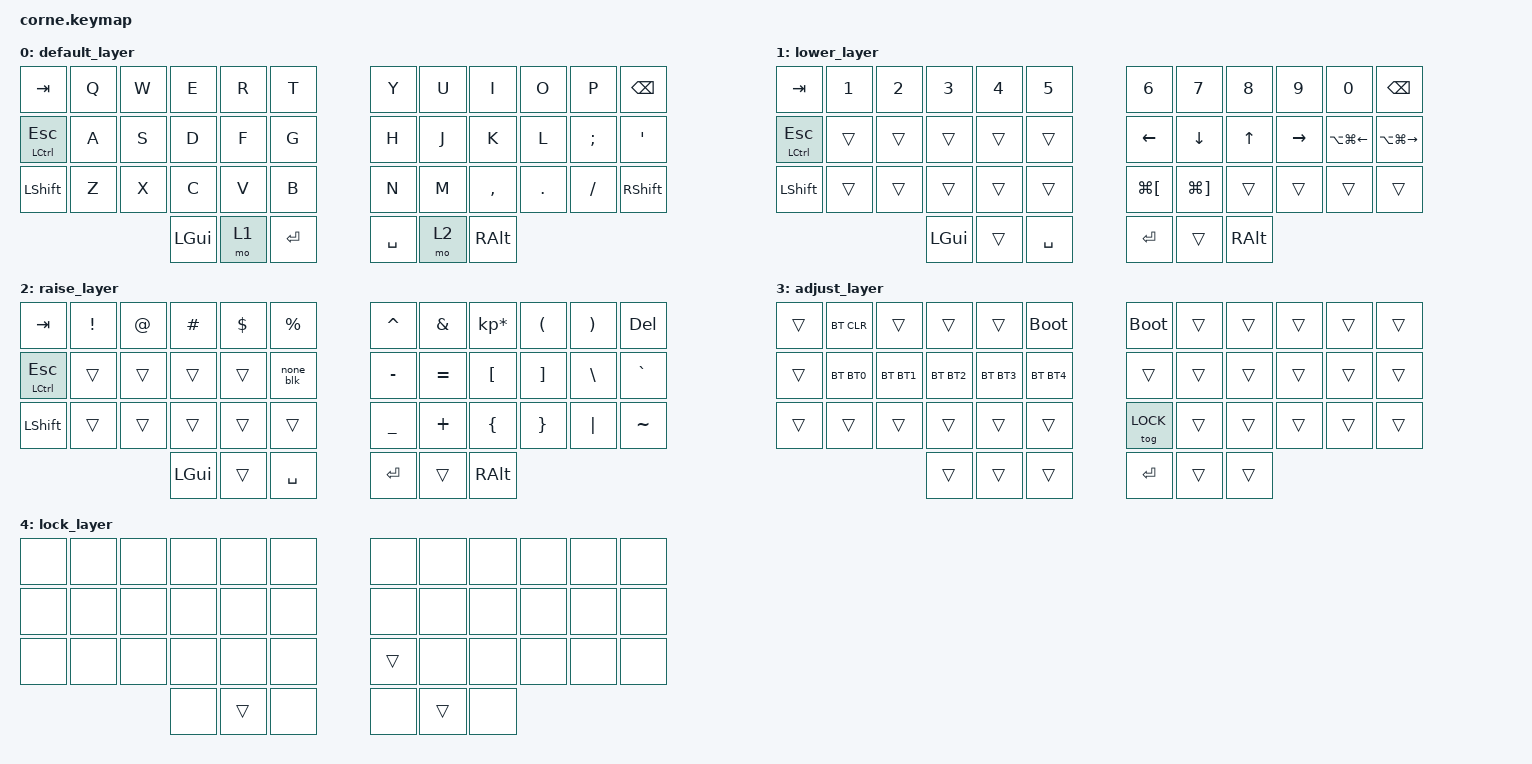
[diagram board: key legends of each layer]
/*
 * Copyright (c) 2020 The ZMK Contributors
 *
 * SPDX-License-Identifier: MIT
 */

#include <behaviors.dtsi>
#include <dt-bindings/zmk/keys.h>
#include <dt-bindings/zmk/bt.h>

#define LOWER 1
#define RAISE 2
#define ADJUST 3
#define LOCK 4
#define BACK C_AC_BACK
#define FWD C_AC_FORWARD
#define PAUSE PAUSE_BREAK
#define VOL_DN C_VOL_DN
#define VOL_UP C_VOL_UP
#define LC_SPC LC(SPACE)
#define ZM_IN LC(EQUAL)
#define ZM_OUT LC(MINUS)
#define ZM_RST LC(N0)
#define BT0 BT_SEL 0
#define BT1 BT_SEL 1
#define BT2 BT_SEL 2
#define BT3 BT_SEL 3
#define BT4 BT_SEL 4
#define HYP LS(LC(LA(LGUI)))

#define HYPER(key) LS(LC(LA(LG(key))))

&mt {
    retro-tap;
};

/ {
    conditional_layers {
        compatible = "zmk,conditional-layers";

        tri_layer {
            if-layers = <LOWER RAISE>;
            then-layer = <ADJUST>;
        };
    };

    behaviors {
        hm: homerow_mods {
            compatible = "zmk,behavior-hold-tap";
            label = "HOMEROW_MODS";
            #binding-cells = <2>;
            tapping-term-ms = <150>;
            quick_tap_ms = <0>;
            flavor = "tap-preferred";
            bindings =
                <&kp>,
                <&kp>;
        };
    };

    combos {
        compatible = "zmk,combos";

        combo_caps {
            timeout-ms = <1000>;
            key-positions = <24 35>;
            bindings = <&caps_word>;
        };
    };

    macros {
        none_blk: none_blk {
            label = "NON_BLOCKING";
            compatible = "zmk,behavior-macro";
            #binding-cells = <0>;
            bindings =
                <&macro_tap>,
                <&kp LS(COMMA) &kp EQUAL>;
        };
    };

    keymap {
        compatible = "zmk,keymap";

        // key positions
        // --------------------------------------------------------------------------------
        //  |  0  |  1  |  2  |  3  |  4  |  5  |     |  6  |  7  |  8  |  9  |  10 |  11 |
        //  |  12 |  13 |  14 |  15 |  16 |  17 |     |  18 |  19 |  20 |  21 |  22 |  23 |
        //  |  24 |  25 |  26 |  27 |  28 |  29 |     |  30 |  31 |  32 |  33 |  34 |  35 |
        //                    |  36 |  37 |  38 |     |  39 |  40 |  41 |

        default_layer {
            // -----------------------------------------------------------------------------------------
            //  |  TAB       |  Q  |  W  |  E  |  R  |  T  |   |  Y  |  U   |  I  |  O  |  /  | BKSP |
            //  | CTRL / ESC |  A  |  S  |  D  |  F  |  G  |   |  H  |  J   |  K  |  L  |  P  |  '   |
            //  | SHFT       |  Z  |  X  |  C  |  V  |  B  |   |  N  |  M   |  ,  |  .  |  ;  | SHFT |
            //                           | GUI | LWR | SPC |   | ENT | RSE  | ALT |

            bindings = <
      &kp TAB  &kp Q  &kp W     &kp E  &kp R       &kp T        &kp Y  &kp U      &kp I    &kp O     &kp P   &kp BSPC
&mt LCTRL ESC  &kp A  &kp S     &kp D  &kp F       &kp G        &kp H  &kp J      &kp K    &kp L  &kp SEMI    &kp SQT
    &kp LSHFT  &kp Z  &kp X     &kp C  &kp V       &kp B        &kp N  &kp M  &kp COMMA  &kp DOT  &kp FSLH  &kp RSHFT
                             &kp LGUI  &mo 1  &kp RETURN    &kp SPACE  &mo 2   &kp RALT
            >;
        };

        lower_layer {
            // -----------------------------------------------------------------------------------------
            //  |  TAB       |  1    |  2  |  3  |  4  |  5  |   |  6  |  7  |  8  |  9  |  0  | BKSP |
            //  | CTRL / ESC |       |     |     |     |     |   | LFT | DWN |  UP | RGT |     |      |
            //  | SHFT       |       |     |     |     |     |   |     |     |     |     |     |      |
            //                             | GUI |     | SPC |   | ENT |     | ALT |

            bindings = <
      &kp TAB  &kp N1  &kp N2    &kp N3  &kp N4     &kp N5          &kp N6        &kp N7    &kp N8     &kp N9            &kp N0           &kp BSPC
&mt LCTRL ESC  &trans  &trans    &trans  &trans     &trans        &kp LEFT      &kp DOWN    &kp UP  &kp RIGHT  &kp LA(LG(LEFT))  &kp LA(LG(RIGHT))
    &kp LSHFT  &trans  &trans    &trans  &trans     &trans    &kp LG(LBKT)  &kp LG(RBKT)    &trans     &trans            &trans             &trans
                               &kp LGUI  &trans  &kp SPACE         &kp RET        &trans  &kp RALT
            >;
        };

        raise_layer {
            // -----------------------------------------------------------------------------------------
            // |  TAB       |  !  |  @  |  #  |  $  |  %  |   |  ^  |  &  |  *  |  (  |  )  | BKSP |
            // | CTRL / ESC |     |     |     |     |     |   |  -  |  =  |  [  |  ]  |  \  |  `   |
            // | SHFT       |     |     |     |     |     |   |  _  |  +  |  {  |  }  | "|" |  ~   |
            //                          | GUI |     | SPC |   | ENT |     | ALT |

            bindings = <
      &kp TAB  &kp EXCL  &kp AT  &kp HASH  &kp DLLR  &kp PRCNT    &kp CARET   &kp AMPS  &kp KP_MULTIPLY  &kp LPAR  &kp RPAR    &kp DEL
&mt LCTRL ESC    &trans  &trans    &trans    &trans  &none_blk    &kp MINUS  &kp EQUAL         &kp LBKT  &kp RBKT  &kp BSLH  &kp GRAVE
    &kp LSHFT    &trans  &trans    &trans    &trans     &trans    &kp UNDER   &kp PLUS         &kp LBRC  &kp RBRC  &kp PIPE  &kp TILDE
                                 &kp LGUI    &trans  &kp SPACE      &kp RET     &trans         &kp RALT
            >;
        };

        adjust_layer {
            bindings = <
&trans  &bt BT_CLR   &trans   &trans   &trans  &bootloader    &bootloader  &trans  &trans  &trans  &trans  &trans
&trans     &bt BT0  &bt BT1  &bt BT2  &bt BT3      &bt BT4         &trans  &trans  &trans  &trans  &trans  &trans
&trans      &trans   &trans   &trans   &trans       &trans      &tog LOCK  &trans  &trans  &trans  &trans  &trans
                              &trans   &trans       &trans        &kp RET  &trans  &trans
            >;
        };

        // The Lower+Raise+Backspace binding toggles a "soft lock" mode that effective disables
        // other keys, allowing the keyboard to be transported without spurious key presses. (Note
        // that the Lower, Raise, and Backspace positions must be bound to &trans to allow the lock
        // layer to be toggled again after it's activated.)
        //
        // If https://github.com/zmkfirmware/zmk/issues/405 is implemented, this layer can be
        // replaced by a native behavior in the future.

        lock_layer {
            bindings = <
&none  &none  &none  &none   &none  &none     &none   &none  &none  &none  &none  &none
&none  &none  &none  &none   &none  &none     &none   &none  &none  &none  &none  &none
&none  &none  &none  &none   &none  &none    &trans   &none  &none  &none  &none  &none
                     &none  &trans  &none     &none  &trans  &none
            >;
        };
    };
};
